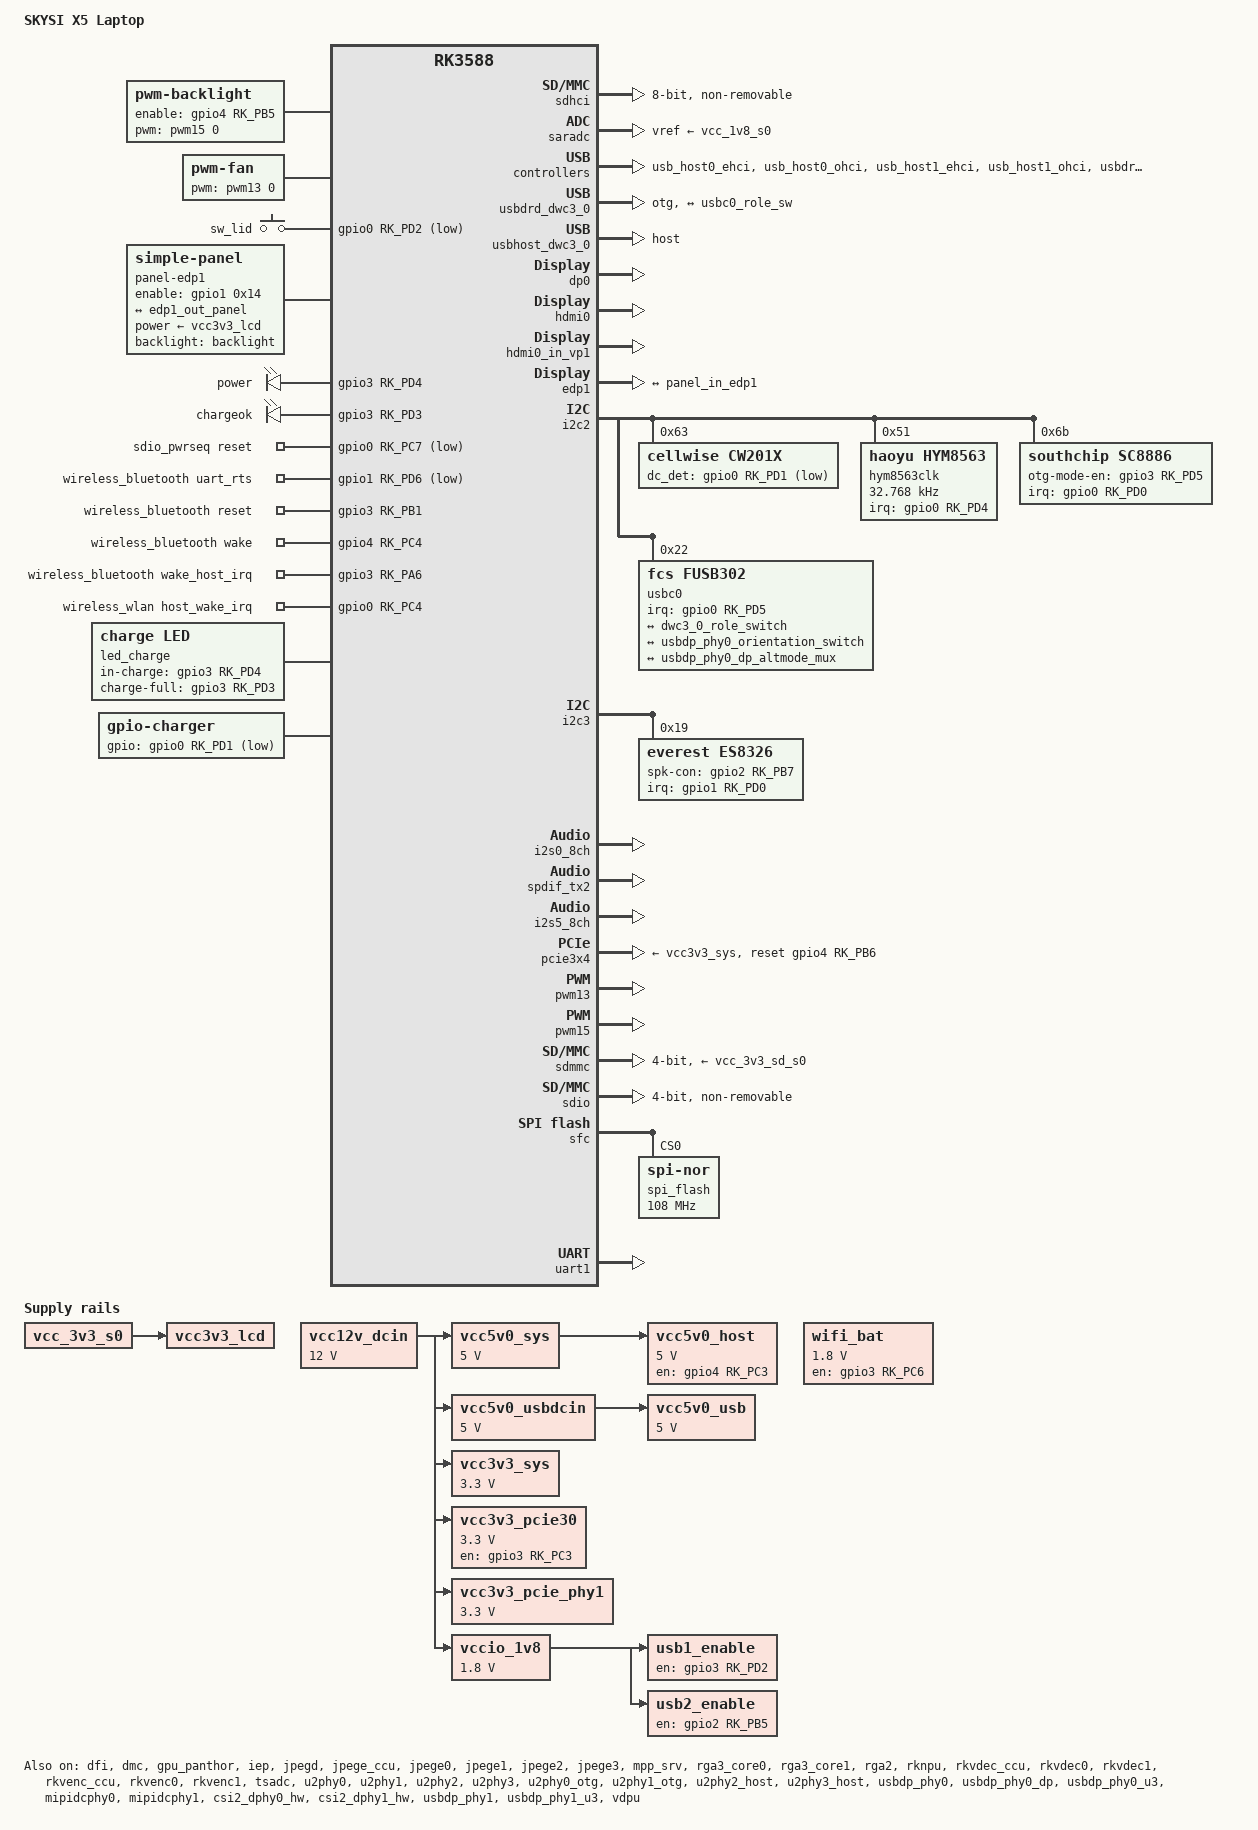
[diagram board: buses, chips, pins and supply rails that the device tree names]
// SPDX-License-Identifier: (GPL-2.0+ OR MIT)
/*
 * Copyright (c) 2021 Rockchip Electronics Co., Ltd.
 *
 */

/dts-v1/;

#include <dt-bindings/gpio/gpio.h>
#include <dt-bindings/pwm/pwm.h>
#include <dt-bindings/pinctrl/rockchip.h>
#include <dt-bindings/input/rk-input.h>
#include <dt-bindings/display/drm_mipi_dsi.h>
#include <dt-bindings/display/rockchip_vop.h>
#include <dt-bindings/usb/pd.h>
#include <dt-bindings/sensor-dev.h>
#include "rk3588.dtsi"
#include "rk3588-rk806-dual.dtsi"
#include "rk3588-linux.dtsi"

/ {
	model = "SKYSI X5 Laptop";
	compatible = "gedu,yourland-codebook", "kaihong,botbook", "rockchip,rk3588";

	backlight: backlight {
		compatible = "pwm-backlight";
		brightness-levels = <
			  0  20  20  21  21  22  22  23
			 23  24  24  25  25  26  26  27
			 27  28  28  29  29  30  30  31
			 31  32  32  33  33  34  34  35
			 35  36  36  37  37  38  38  39
			 40  41  42  43  44  45  46  47
			 48  49  50  51  52  53  54  55
			 56  57  58  59  60  61  62  63
			 64  65  66  67  68  69  70  71
			 72  73  74  75  76  77  78  79
			 80  81  82  83  84  85  86  87
			 88  89  90  91  92  93  94  95
			 96  97  98  99 100 101 102 103
			104 105 106 107 108 109 110 111
			112 113 114 115 116 117 118 119
			120 121 122 123 124 125 126 127
			128 129 130 131 132 133 134 135
			136 137 138 139 140 141 142 143
			144 145 146 147 148 149 150 151
			152 153 154 155 156 157 158 159
			160 161 162 163 164 165 166 167
			168 169 170 171 172 173 174 175
			176 177 178 179 180 181 182 183
			184 185 186 187 188 189 190 191
			192 193 194 195 196 197 198 199
			200 201 202 203 204 205 206 207
			208 209 210 211 212 213 214 215
			216 217 218 219 220 221 222 223
			224 225 226 227 228 229 230 231
			232 233 234 235 236 237 238 239
			240 241 242 243 244 245 246 247
			248 249 250 251 252 253 254 255
		>;
		default-brightness-level = <200>;
	};

	fan: pwm-fan {
		compatible = "pwm-fan";
		cooling-min-state = <0>;
		cooling-max-state = <3>;
		#cooling-cells = <2>;
		pwms = <&pwm13 0 3000000 1>;
		cooling-levels = <0 128 192 255>;
	};

	keys: gpio-keys {
		compatible = "gpio-keys";
		pinctrl-names = "default";
		pinctrl-0 = <&sw_lid>;

		lid: hall-sensor {
			wakeup-event-action = <0x02>;
			wakeup-source;
			debounce-interval = <20>;
			gpios = <&gpio0 RK_PD2 GPIO_ACTIVE_LOW>;
			label = "sw_lid";
			linux,code = <SW_LID>;
			linux,input-type = <EV_SW>;
		};
	};

	panel-edp1 {
		compatible = "simple-panel";
		backlight = <&backlight>;
		enable-gpios = <&gpio1 0x14 0x00>;
		power-supply = <&vcc3v3_lcd>;
		prepare-delay-ms = <210>;
		enable-delay-ms = <50>;
		unprepare-delay-ms = <160>;
		disable-delay-ms = <120>;
		width-mm = <309>;
		height-mm = <174>;

		panel-timing {
			clock-frequency = <148500000>;
			hactive = <1920>;
			vactive = <1080>;
			hfront-porch = <48>;
			hsync-len = <32>;
			hback-porch = <200>;
			vfront-porch = <3>;
			vsync-len = <6>;
			vback-porch = <37>;
			hsync-active = <0>;
			vsync-active = <0>;
			de-active = <0>;
			pixelclk-active = <0>;
		};

		port {
			panel_in_edp1: endpoint {
				remote-endpoint = <&edp1_out_panel>;
			};
		};
	};
	vcc3v3_lcd: vcc3v3-lcd {
		compatible = "regulator-fixed";
		regulator-name = "vcc3v3_lcd";
		vin-supply = <&vcc_3v3_s0>;
	};

	es8326_sound: es8326-sound {
		compatible = "rockchip,multicodecs-card";
		rockchip,card-name = "rockchip-es8326";
		rockchip,codec-hp-det;
		rockchip,format = "i2s";
		rockchip,mclk-fs = <256>;
		rockchip,cpu = <&i2s0_8ch>;
		rockchip,codec = <&es8326>;
		rockchip,audio-routing = 
				"Headphone", "HPOL",
				"Headphone", "HPOR",
				"Headphone", "Headphone Power",
				"Speaker", "HPOL",
				"Speaker", "HPOR",
				"Speaker", "Speaker Power",
				"MIC1", "Headset Mic",
				"MIC2", "Main Mic";
		pinctrl-names = "default";
		pinctrl-0 = <&hp_det>;
	};

	dp0_sound: dp0-sound {
		compatible = "rockchip,hdmi";
		rockchip,card-name= "rockchip-dp0";
		rockchip,mclk-fs = <512>;
		rockchip,cpu = <&spdif_tx2>;
		rockchip,codec = <&dp0 1>;
		rockchip,jack-det;
	};

	hdmi0_sound: hdmi0-sound {
		compatible = "rockchip,hdmi";
		rockchip,mclk-fs = <128>;
		rockchip,card-name = "rockchip-hdmi0";
		rockchip,cpu = <&i2s5_8ch>;
		rockchip,codec = <&hdmi0>;
		rockchip,jack-det;
	};

	leds: leds {
		compatible = "gpio-leds";
		pinctrl-names = "default";
		pinctrl-0 =<&leds_gpio>;
		status = "okay";

		led_power: led-power{
			label = "power";
			gpios = <&gpio3 RK_PD4 GPIO_ACTIVE_HIGH>;
			default-state = "on";
		};

		led_charge_full: led-charge-full {
			label = "chargeok";
			gpios = <&gpio3 RK_PD3 GPIO_ACTIVE_HIGH>;
			linux,default-trigger = "cw2017-battery-full";
		};
	};

	vcc12v_dcin: vcc12v-dcin {
		compatible = "regulator-fixed";
		regulator-name = "vcc12v_dcin";
		regulator-always-on;
		regulator-boot-on;
		regulator-min-microvolt = <12000000>;
		regulator-max-microvolt = <12000000>;
	};

	vcc5v0_sys: vcc5v0-sys {
		compatible = "regulator-fixed";
		regulator-name = "vcc5v0_sys";
		regulator-always-on;
		regulator-boot-on;
		regulator-min-microvolt = <5000000>;
		regulator-max-microvolt = <5000000>;
		vin-supply = <&vcc12v_dcin>;
	};

	vcc5v0_usbdcin: vcc5v0-usbdcin {
		compatible = "regulator-fixed";
		regulator-name = "vcc5v0_usbdcin";
		regulator-always-on;
		regulator-boot-on;
		regulator-min-microvolt = <5000000>;
		regulator-max-microvolt = <5000000>;
		vin-supply = <&vcc12v_dcin>;
	};

	vcc3v3_sys: vcc3v3-sys {
		compatible = "regulator-fixed";
		regulator-name = "vcc3v3_sys";
		regulator-always-on;
		regulator-boot-on;
		regulator-min-microvolt = <3300000>;
		regulator-max-microvolt = <3300000>;
		vin-supply = <&vcc12v_dcin>;

	};

	sdio_pwrseq: sdio-pwrseq {
		compatible = "mmc-pwrseq-simple";
		pinctrl-names = "default";
		pinctrl-0 = <&wifi_enable_h>;
		post-power-on-delay-ms = <200>;
		reset-gpios = <&gpio0 RK_PC7 GPIO_ACTIVE_LOW>;
	};

	vcc3v3_pcie30: vcc3v3-pcie30 {
		compatible = "regulator-fixed";
		regulator-name = "vcc3v3_pcie30";
		regulator-min-microvolt = <3300000>;
		regulator-max-microvolt = <3300000>;
		enable-active-high;
		gpios = <&gpio3 RK_PC3 GPIO_ACTIVE_HIGH>;
		startup-delay-us = <5000>;
		vin-supply = <&vcc12v_dcin>;
	};

	vcc3v3_pcie_phy1: vcc3v3-pcie-phy1 {
		compatible = "regulator-fixed";
		regulator-name = "vcc3v3_pcie_phy1";
		regulator-min-microvolt = <3300000>;
		regulator-max-microvolt = <3300000>;
		vin-supply = <&vcc12v_dcin>;
	};

	vccio_1v8: vccio-1v8 {
		compatible = "regulator-fixed";
		regulator-name = "vccio_1v8";
		regulator-min-microvolt = <1800000>;
		regulator-max-microvolt = <1800000>;
		regulator-always-on;
		vin-supply = <&vcc12v_dcin>;
	};

	vcc5v0_host: vcc5v0-host-regulator {
		compatible = "regulator-fixed";
		regulator-name = "vcc5v0_host";
		regulator-boot-on;
		regulator-always-on;
		regulator-min-microvolt = <5000000>;
		regulator-max-microvolt = <5000000>;
		enable-active-high;
		gpio = <&gpio4 RK_PC3 GPIO_ACTIVE_HIGH>;
		vin-supply = <&vcc5v0_sys>;
		pinctrl-names = "default";
		pinctrl-0 = <&vcc5v0_host_en>;
	};

	vcc5v0_usb: vcc5v0-usb {
		compatible = "regulator-fixed";
		regulator-name = "vcc5v0_usb";
		regulator-always-on;
		regulator-boot-on;
		regulator-min-microvolt = <5000000>;
		regulator-max-microvolt = <5000000>;
		vin-supply = <&vcc5v0_usbdcin>;
	};

	wifi_bat: wifi_bat {
		compatible = "regulator-fixed";
		regulator-name = "wifi_vbat";
		regulator-boot-on;
		regulator-always-on;
		regulator-min-microvolt = <1800000>;
		regulator-max-microvolt = <1800000>;
		gpio = <&gpio3 RK_PC6 GPIO_ACTIVE_HIGH>;
		enable-active-high;
		pinctrl-names = "default";
		pinctrl-0 = <&wifi_3v3>;
	};

	wireless_bluetooth: wireless-bluetooth {
		compatible = "bluetooth-platdata";
		clocks = <&hym8563clk>;
		clock-names = "ext_clock";
		uart_rts_gpios = <&gpio1 RK_PD6 GPIO_ACTIVE_LOW>;
		pinctrl-names = "default", "rts_gpio";
		pinctrl-0 = <&uart1m1_rtsn>;
		pinctrl-1 = <&uart1_gpios>;
		BT,reset_gpio = <&gpio3 RK_PB1 GPIO_ACTIVE_HIGH>;
		BT,wake_gpio = <&gpio4 RK_PC4 GPIO_ACTIVE_HIGH>;
		BT,wake_host_irq = <&gpio3 RK_PA6 GPIO_ACTIVE_HIGH>;
		status = "okay";
	};

	wireless_wlan: wireless-wlan {
		compatible = "wlan-platdata";
		wifi_chip_type = "ap6275s";
		pinctrl-names = "default";
		pinctrl-0 = <&wifi_host_wake_irq>;
		WIFI,host_wake_irq = <&gpio0 RK_PC4 GPIO_ACTIVE_HIGH>;
		status = "okay";
	};

	usb1_enable: usb1-enable {
		compatible = "regulator-fixed";
		regulator-name = "usb1_enable";
		regulator-always-on;
		regulator-boot-on;
		gpio = <&gpio3 RK_PD2 GPIO_ACTIVE_HIGH>;
		enable-active-high;
		vin-supply = <&vccio_1v8>;
	};

	usb2_enable: usb2-enable {
		compatible = "regulator-fixed";
		regulator-name = "usb2_enable";
		regulator-always-on;
		regulator-boot-on;
		gpio = <&gpio2 RK_PB5 GPIO_ACTIVE_HIGH>;
		enable-active-high;
		vin-supply = <&vccio_1v8>;
	};

	led_charge: charge-control {
		compatible = "charge,led";
		in-charge-gpio = <&gpio3 RK_PD4 GPIO_ACTIVE_HIGH>;
		charge-full-gpio = <&gpio3 RK_PD3 GPIO_ACTIVE_HIGH>;
	};

	charger: charger {
		compatible = "gpio-charger";
		charger-type = "mains";
		gpios = <&gpio0 RK_PD1 GPIO_ACTIVE_LOW>;
	};

	charge-animation {
		compatible = "rockchip,uboot-charge";
		rockchip,uboot-charge-on = <0x01>;
		rockchip,android-charge-on = <0x00>;
		rockchip,uboot-low-power-voltage = <0x1bbc>;
		rockchip,screen-on-voltage = <0x1bd0>;
		rockchip,uboot-exit-charge-voltage = <0x1bee>;
		rockchip,uboot-exit-charge-auto = <0x00>;
		rockchip,system-suspend = <0x00>;
		rockchip,auto-off-screen-interval = <0x0a>;
		regulator-on-in-mem = <0x43 0x163 0x1e4 0x164 0x1e5 0x1e6 0x1e7 0x1e5 0x1e8 0x1e9>;
		regulator-off-in-mem = <0x5c 0xaa 0xbd 0x5d 0xab 0xbe 0x1ea 0x1d9 0x10d 0x1eb 0x1ec 0x1ed 0x1f 0x1a 0x13 0x20 0x1b 0x183 0x14 0x1ee 0x42 0x1ef 0x1f0 0x10c 0x1f1 0x1f2 0x1f3 0x1f4 0x1f5 0x1f6 0x1f7>;
		status = "okay";
	};
};

&cpu_l0 {
	cpu-supply = <&vdd_cpu_lit_s0>;
	mem-supply = <&vdd_cpu_lit_mem_s0>;
};

&cpu_b0 {
	cpu-supply = <&vdd_cpu_big0_s0>;
	mem-supply = <&vdd_cpu_big0_mem_s0>;
};

&cpu_b2 {
	cpu-supply = <&vdd_cpu_big1_s0>;
	mem-supply = <&vdd_cpu_big1_mem_s0>;
};

&dfi {
	status = "okay";
};

&dmc {
	auto-freq-en = <1>;
	status = "okay";
};

&sdhci {
	bus-width = <8>;
	no-sdio;
	no-sd;
	non-removable;
	max-frequency = <200000000>;
	mmc-hs400-1_8v;
	mmc-hs400-enhanced-strobe;
	status = "okay";
};

&gpu_panthor {
	mali-supply = <&vdd_gpu_s0>;
	status = "okay";
};

&iep {
	status = "okay";
};

&iep_mmu {
	status = "okay";
};

&jpegd {
	status = "okay";
};

&jpegd_mmu {
	status = "okay";
};

&jpege_ccu {
	status = "okay";
};

&jpege0 {
	status = "okay";
};

&jpege0_mmu {
	status = "okay";
};

&jpege1 {
	status = "okay";
};

&jpege1_mmu {
	status = "okay";
};

&jpege2 {
	status = "okay";
};

&jpege2_mmu {
	status = "okay";
};

&jpege3 {
	status = "okay";
};

&jpege3_mmu {
	status = "okay";
};

&mpp_srv {
	status = "okay";
};

&rga3_core0 {
	status = "okay";
};

&rga3_0_mmu {
	status = "okay";
};

&rga3_core1 {
	status = "okay";
};

&rga3_1_mmu {
	status = "okay";
};

&rga2 {
	status = "okay";
};

&rknpu {
	rknpu-supply = <&vdd_npu_s0>;
	mem-supply = <&vdd_npu_mem_s0>;
	status = "okay";
};

&rknpu_mmu {
	status = "okay";
};

&rkvdec_ccu {
	status = "okay";
};

&rkvdec0 {
	status = "okay";
};

&rkvdec0_mmu {
	status = "okay";
};

&rkvdec1 {
	status = "okay";
};

&rkvdec1_mmu {
	status = "okay";
};

&rkvenc_ccu {
	status = "okay";
};

&rkvenc0 {
	status = "okay";
};

&rkvenc0_mmu {
	status = "okay";
};

&rkvenc1 {
	status = "okay";
};

&rkvenc1_mmu {
	status = "okay";
};

&rockchip_suspend {
	status = "okay";
	rockchip,sleep-debug-en = <1>;
};

&saradc {
	status = "okay";
	vref-supply = <&vcc_1v8_s0>;
};

&tsadc {
	status = "okay";
};

&u2phy0 {
	status = "okay";
};

&u2phy1 {
	status = "okay";
};

&u2phy2 {
	status = "okay";
};

&u2phy3 {
	status = "okay";
};

&u2phy0_otg {
	rockchip,typec-vbus-det;
	status = "okay";
};

&u2phy1_otg {
	phy-supply = <&vcc5v0_host>;
	status = "okay";
};

&u2phy2_host {
	status = "okay";
};

&u2phy3_host {
	status = "okay";
};

&usb_host0_ehci {
	status = "okay";
};

&usb_host0_ohci {
	status = "okay";
};

&usb_host1_ehci {
	status = "okay";
};

&usb_host1_ohci {
	status = "okay";
};

&usbdp_phy0 {
	orientation-switch;
	svid = <0xff01>;
	sbu1-dc-gpios = <&gpio4 RK_PA6 GPIO_ACTIVE_HIGH>;
	sbu2-dc-gpios = <&gpio4 RK_PA7 GPIO_ACTIVE_HIGH>;
	status = "okay";
	port {
		#address-cells = <1>;
		#size-cells = <0>;

		usbdp_phy0_orientation_switch: endpoint@0 {
			reg = <0>;
			remote-endpoint = <&usbc0_orien_sw>;
		};

		usbdp_phy0_dp_altmode_mux: endpoint@1 {
			reg = <1>;
			remote-endpoint = <&dp_altmode_mux>;
		};
	};
};

&usbdp_phy0_dp {
	status = "okay";
};

&usbdp_phy0_u3 {
	status = "okay";
};

&mipidcphy0 {
	status = "okay";
};

&mipidcphy1 {
	status = "okay";
};

&csi2_dphy0_hw {
	status = "okay";
};

&csi2_dphy1_hw {
	status = "okay";
};

&usbdrd3_0 {
	status = "okay";
};

&usbdrd_dwc3_0 {
	dr_mode = "otg";
	status = "okay";
	usb-role-switch;
	port {
		#address-cells = <1>;
		#size-cells = <0>;
		dwc3_0_role_switch: endpoint@0 {
			reg = <0>;
			remote-endpoint = <&usbc0_role_sw>;
		};
	};
};

&usbhost3_0 {
	status = "okay";
};

&usbhost_dwc3_0 {
	dr_mode = "host";
	status = "okay";
};

&usbdp_phy1 {
	status = "okay";
};

&usbdp_phy1_dp {
	status = "disabled";
};

&usbdp_phy1_u3 {
	status = "okay";
};

&usbdrd3_1 {
	status = "okay";
};

&usbdrd_dwc3_1 {
	status = "okay";
};

&vdpu {
	status = "okay";
};

&vdpu_mmu {
	status = "okay";
};

&vop {
	status = "okay";
};

&vop_mmu {
	status = "okay";
};

/* vp0 & vp1 splice for 8K output */
&vp0 {
	rockchip,plane-mask = <(1 << ROCKCHIP_VOP2_CLUSTER0 | 1 << ROCKCHIP_VOP2_ESMART0)>;
	rockchip,primary-plane = <ROCKCHIP_VOP2_CLUSTER0>;
	cursor-win-id=<ROCKCHIP_VOP2_ESMART0>;
};

&vp1 {
	rockchip,plane-mask = <(1 << ROCKCHIP_VOP2_CLUSTER1 | 1 << ROCKCHIP_VOP2_ESMART1)>;
	rockchip,primary-plane = <ROCKCHIP_VOP2_CLUSTER1>;
	cursor-win-id=<ROCKCHIP_VOP2_ESMART1>;
};

&vp2 {
	rockchip,plane-mask = <(1 << ROCKCHIP_VOP2_CLUSTER2 | 1 << ROCKCHIP_VOP2_ESMART2)>;
	rockchip,primary-plane = <ROCKCHIP_VOP2_CLUSTER2>;
	cursor-win-id=<ROCKCHIP_VOP2_ESMART2>;
};

&vp3 {
	rockchip,plane-mask = <(1 << ROCKCHIP_VOP2_CLUSTER3 | 1 << ROCKCHIP_VOP2_ESMART3)>;
	rockchip,primary-plane = <ROCKCHIP_VOP2_CLUSTER3>;
	cursor-win-id=<ROCKCHIP_VOP2_ESMART3>;
};

&backlight {
	pwms = <&pwm15 0 25000 0>;
	enable-gpios = <&gpio4 RK_PB5 GPIO_ACTIVE_HIGH>;
	status = "okay";
};

&dp0 {
	status = "okay";
};

&dp0_in_vp0 {
	status = "okay";
};

&hdmi0 {
	enable-gpios = <&gpio4 RK_PB0 GPIO_ACTIVE_HIGH>;
	status = "okay";
};

&hdmi0_in_vp1 {
	status = "okay";
};

&hdptxphy_hdmi0 {
	status = "okay";
};

&edp1 {
	force-hpd;
	status = "okay";
	ports {
		port@1 {
			reg = <1>;
			edp1_out_panel: endpoint {
				remote-endpoint = <&panel_in_edp1>;
			};
		};
	};
};

&edp1_in_vp2 {
	status = "okay";
};

&hdptxphy1 {
	status = "okay";
};

&i2c2 {
	status = "okay";

	cw201x: cw201x@63 {
		compatible = "cellwise,cw201x", "cellwise,cw2017";
		reg = <0x63>;
		cellwise,battery-profile = <
			0x32000000 0x00000000 0xa2bfc9f0 0xacb19755 0x42ffffff
			0xe0b39080 0x604a2480 0xacd995d3 0xd1cfcfcc 0xc9abee99
			0xbab7bb9f 0x8c817468 0x5b5d6f8a 0xa08f573d 0x00009002
			0x00000000 0x00006400 0x00000000 0x00000000 0x00000079
		>;

		cellwise,dual-cell;
		dc_det_gpio = <&gpio0 RK_PD1 GPIO_ACTIVE_LOW>;
		cellwise,monitor-interval-ms = <3000>;
		cellwise,design-capacity-mah = <6000>;
		power-supplies = <&charger &sc8886>;
		status = "okay";
	};

	hym8563clk: hym8563@51 {
		compatible = "haoyu,hym8563";
		reg = <0x51>;
		#clock-cells = <0>;
		clock-frequency = <32768>;
		clock-output-names = "hym8563clk";
		pinctrl-names = "default";
		pinctrl-0 = <&hym8563_int>;
		interrupt-parent = <&gpio0>;
		interrupts = <RK_PD4 IRQ_TYPE_LEVEL_LOW>;
		wakeup-source;
	};

	sc8886: sc8886@6b {
		compatible = "southchip,sc8886", "ti,bq25703";
		reg = <0x6b>;
		interrupt-parent = <&gpio0>;
		interrupts = <RK_PD0 IRQ_TYPE_LEVEL_LOW>;
		pinctrl-names = "default";
		pinctrl-0 = <&charger_ok>;
		otg-mode-en-gpio = <&gpio3 RK_PD5 GPIO_ACTIVE_HIGH>;
		extcon = <&u2phy0>;
		ti,usb-charger-detection = <&usbc0>;
		ti,charge-current = <2500000>;
		ti,max-input-voltage = <12000000>;
		ti,max-input-current = <6000000>;
		ti,max-charge-voltage = <8700000>;
		ti,input-current = <2000000>;
		ti,input-current-sdp = <1000000>;
		ti,input-current-dcp = <2000000>;
		ti,input-current-cdp = <2000000>;
		ti,minimum-sys-voltage = <7200000>;
		ti,otg-voltage = <5000000>;
		ti,otg-current = <2000000>;
		pd-charge-only = <0>;
		status = "okay";
	};

	usbc0: fusb302@22 {
		compatible = "fcs,fusb302";
		reg = <0x22>;
		interrupt-parent = <&gpio0>;
		interrupts = <RK_PD5 IRQ_TYPE_LEVEL_LOW>;
		pinctrl-names = "default";
		pinctrl-0 = <&usbc0_int>;
		status = "okay";

		ports {
			#address-cells = <1>;
			#size-cells = <0>;

			port@0 {
				reg = <0>;
				usbc0_role_sw: endpoint@0 {
					remote-endpoint = <&dwc3_0_role_switch>;
				};
			};
		};

		usb_con: connector {
			compatible = "usb-c-connector";
			label = "USB-C";
			data-role = "dual";
			power-role = "dual";
			try-power-role = "sink";
			op-sink-microwatt = <1000000>;
			sink-pdos =
				<PDO_FIXED(5000, 3000, PDO_FIXED_USB_COMM)
				 PDO_FIXED(9000, 3000, PDO_FIXED_USB_COMM)
				 PDO_FIXED(12000, 3000, PDO_FIXED_USB_COMM)
				 PDO_FIXED(15000, 3000, PDO_FIXED_USB_COMM)>;
			source-pdos =
				<PDO_FIXED(5000, 3000, PDO_FIXED_USB_COMM)>;

			altmodes {
				#address-cells = <1>;
				#size-cells = <0>;

				altmode@0 {
					reg = <0>;
					svid = <0xff01>;
					vdo = <0xffffffff>;
				};
			};

			ports {
				#address-cells = <1>;
				#size-cells = <0>;

				port@0 {
					reg = <0>;
					usbc0_orien_sw: endpoint {
						remote-endpoint = <&usbdp_phy0_orientation_switch>;
					};
				};

				port@1 {
					reg = <1>;
					dp_altmode_mux: endpoint {
						remote-endpoint = <&usbdp_phy0_dp_altmode_mux>;
					};
				};
			};
		};
	};
};

&i2c3 {
	status = "okay";

	es8326: es8326@19 {
		compatible = "everest,es8326";
		status = "okay";
		reg = <0x19>;
		#sound-dai-cells = <0>;
		clocks = <&mclkout_i2s0>;
		clock-names = "mclk";
		assigned-clocks = <&mclkout_i2s0>;
		assigned-clock-rates = <12288000>;
		pinctrl-names = "default";
		pinctrl-0 = <&i2s0_mclk &hp_det>;
		spk-con-gpio = <&gpio2 RK_PB7 GPIO_ACTIVE_HIGH>;
		interrupt-parent = <&gpio1>;
		interrupts = <RK_PD0 GPIO_ACTIVE_LOW>;
		mic1-src = [22];
		mic2-src = [44];
		jack-pol = [07];
	};
};

&i2s0_8ch {
	status = "okay";
	pinctrl-names = "default";
	pinctrl-0 = <&i2s0_lrck
		     &i2s0_sclk
		     &i2s0_sdi0
		     &i2s0_sdo0>;
};

&spdif_tx2 {
	status = "okay";
};

&i2s5_8ch {
	status = "okay";
};

&pcie30phy {
	rockchip,pcie30-phymode = <PHY_MODE_PCIE_AGGREGATION>;
	status = "okay";
};

/* PCIe 3.0 x4 NVme SSD */
&pcie3x4 {
	reset-gpios = <&gpio4 RK_PB6 GPIO_ACTIVE_HIGH>;
	vpcie3v3-supply = <&vcc3v3_sys>;
	status = "okay";
};

/* PWM Fan Control */
&pwm13 {
	pinctrl-names = "active";
	pinctrl-0 = <&pwm13m1_pins>;
	status = "okay";
};

/* Backlight */
&pwm15 {
	pinctrl-names = "active";
	pinctrl-0 = <&pwm15m1_pins>;
	status = "okay";
};

/* TF Card */
&sdmmc {
	max-frequency = <150000000>;
	status = "okay";
	no-sdio;
	no-mmc;
	bus-width = <0x04>;
	cap-mmc-highspeed;
	cap-sd-highspeed;
	disable-wp;
	sd-uhs-sdr104;
	vmmc-supply = <&vcc_3v3_sd_s0>;
	vqmmc-supply = <&vccio_sd_s0>;
};

/* WiFi&BT */
&sdio {
	max-frequency = <150000000>;
	status = "okay";
	no-sd;
	no-mmc;
	bus-width = <0x04>;
	disable-wp;
	cap-sd-highspeed;
	cap-sdio-irq;
	keep-power-in-suspend;
	mmc-pwrseq = <&sdio_pwrseq>;
	non-removable;
	sd-uhs-sdr104;
};

/* EMMC */
&sdhci {
	status = "okay";
	bus-width = <0x08>;
	no-sdio;
	no-sd;
	non-removable;
	mmc-hs400-1_8v;
};

&rng {
	status = "okay";
};

&sfc {
	status = "okay";
	#address-cells = <1>;
	#size-cells = <0>;

	spi_flash: spi-flash@0 {
		compatible = "jedec,spi-nor";
		reg = <0x0>;
		spi-max-frequency = <108000000>;
		spi-tx-bus-width = <2>;
		spi-rx-bus-width = <2>;
		status = "okay";
	};
};

&uart1 {
	status = "okay";
};

&pinctrl {
	hym8563 {
		hym8563_int: hym8563-int {
			rockchip,pins = <0 RK_PD4 RK_FUNC_GPIO &pcfg_pull_up>;
		};
	};

	gpio-leds {
		leds_gpio: leds-gpio {
			rockchip,pins = <3 RK_PC1 RK_FUNC_GPIO &pcfg_output_high>;
		};
	};

	wireless-wlan {
		wifi_host_wake_irq: wifi-host-wake-irq {
			rockchip,pins = <0 RK_PC4 RK_FUNC_GPIO &pcfg_pull_down>;
		};
	};

	sdio-pwrseq {
		wifi_enable_h: wifi-enable-h {
			rockchip,pins = <0 RK_PC7 RK_FUNC_GPIO &pcfg_pull_none>;
		};
	};

	wifi_vbat {
		wifi_3v3: wifi-vbat {
			rockchip,pins = <3 RK_PC6 RK_FUNC_GPIO &pcfg_pull_up>;
		};
	};

	wireless-bluetooth {
		uart1_gpios: uart1-gpios {
			rockchip,pins = <1 RK_PD6 RK_FUNC_GPIO &pcfg_pull_none>;
		};
	};

	headphone {
		hp_det: hp-det {
			rockchip,pins = <1 RK_PD0 RK_FUNC_GPIO &pcfg_pull_down>;
		};
	};
	usb {
		vcc5v0_host_en: vcc5v0-host-en {
		rockchip,pins = <4 RK_PC3 RK_FUNC_GPIO &pcfg_pull_none>,
				<2 RK_PB6 RK_FUNC_GPIO &pcfg_output_high>,
				<3 RK_PC0 RK_FUNC_GPIO &pcfg_output_high>;
		};
	};

	usb-typec {
		usbc0_int: usbc0-int {
			rockchip,pins = <0 RK_PD3 RK_FUNC_GPIO &pcfg_pull_up>;
		};

		typec5v_pwren: typec5v-pwren {
			rockchip,pins = <1 RK_PB5 RK_FUNC_GPIO &pcfg_pull_none>;
		};

	};
	sensor {
		sw_lid: sw-lid {
			rockchip,pins = <0 RK_PD2 RK_FUNC_GPIO &pcfg_pull_up>;
		};
	};

	sc8886 {
		charger_ok: charger-ok {
			rockchip,pins = <0 RK_PD0 RK_FUNC_GPIO &pcfg_pull_up>;
		};
	};
};
